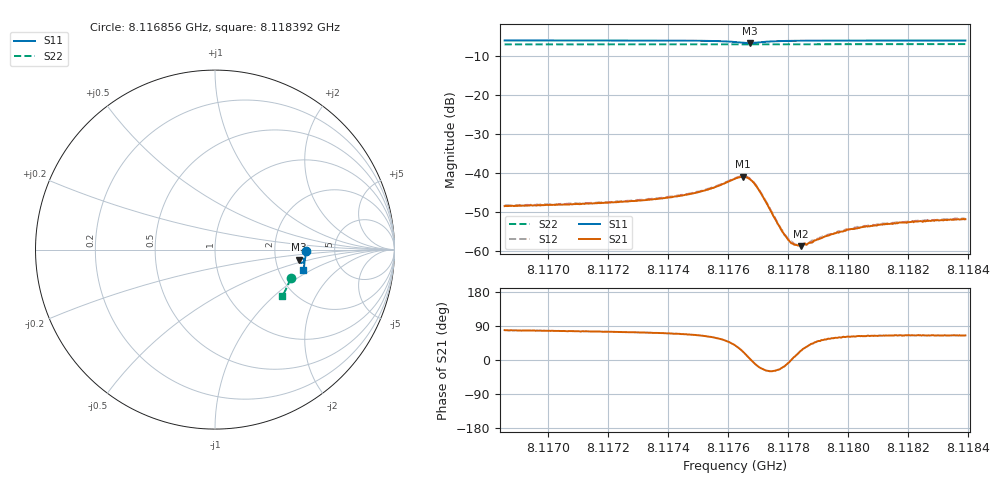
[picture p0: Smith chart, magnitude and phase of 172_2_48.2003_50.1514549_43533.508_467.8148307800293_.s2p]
#  HZ  S  RI  R  50.00
! Rohde & Schwarz Vector Network Analyzer
! Rohde-Schwarz,ZNB20-2Port,1311601062101988,3.16
! Created: UTC 3/20/2024, 11:43:46 AM
! freq[Hz]  re:S11  im:S11  re:S21  im:S21  re:S12  im:S12  re:S22  im:S22
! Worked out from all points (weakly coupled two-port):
!   401 points, 8.116856 GHz to 8.118392 GHz, reference 50 ohm
!   highest |S21| = -40.98 dB at 8.117651 GHz (marker M1); lowest = -58.8 dB at 8.117843 GHz (marker M2)
!   lowest |S11| = -6.6 dB at 8.117674 GHz (marker M3), VSWR 2.77, Z = 135 - j19.7 ohm
!   |S11| at or under -10 dB: nowhere
!   |S22| runs from -6.9 to -6.8 dB; largest |S21 - S12| = 0.00022
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8.1168562e9  0.5064 -0.00586  0.000728 0.00367  0.000805 0.00374  0.4212 -0.1598
8.1171135e9  0.5052 -0.0263  0.000983 0.00387  0.00106 0.00395  0.4151 -0.1768
8.1173707e9  0.5024 -0.0481  0.0015 0.00442  0.00159 0.00446  0.4084 -0.1936
8.1175012e9  0.498 -0.0616  0.00237 0.00513  0.00245 0.00519  0.4047 -0.202
8.1175588e9  0.4931 -0.0688  0.00345 0.00562  0.00356 0.00569  0.4028 -0.2058
8.1176241e9  0.4782 -0.0742  0.00654 0.00528  0.00676 0.00527  0.4002 -0.2097
8.1176509e9  0.4685 -0.0684  0.00829 0.00331  0.0085 0.00327  0.399 -0.211
8.117674e9  0.4663 -0.0567  0.00827 0.000424  0.00844 0.000356  0.3984 -0.2117
8.1176893e9  0.4703 -0.0498  0.00714 -0.00117  0.00727 -0.00125  0.3982 -0.2124
8.1177047e9  0.4768 -0.0463  0.00561 -0.00194  0.00571 -0.00203  0.398 -0.2133
8.1177738e9  0.4943 -0.0539  0.00182 -0.000824  0.00185 -0.000829  0.3965 -0.218
8.1177968e9  0.4963 -0.0578  0.00144 -0.00028  0.00146 -0.00027  0.3962 -0.2195
8.117816e9  0.4973 -0.0606  0.00124 8.61e-05  0.00128 5.69e-05  0.3956 -0.2207
8.1178314e9  0.4977 -0.0627  0.00114 0.000302  0.00115 0.00031  0.3952 -0.2218
8.1178429e9  0.498 -0.0643  0.00104 0.000465  0.00109 0.000478  0.3949 -0.2224
8.1178813e9  0.4985 -0.0689  0.000932 0.00087  0.00101 0.000908  0.3935 -0.2251
8.1179465e9  0.4983 -0.076  0.000876 0.00138  0.000888 0.0014  0.3914 -0.229
8.1180041e9  0.498 -0.0814  0.000899 0.00165  0.000931 0.00164  0.3896 -0.2328
8.1180617e9  0.4973 -0.0863  0.000934 0.00184  0.000922 0.00186  0.3875 -0.2362
8.1181385e9  0.4962 -0.093  0.000932 0.002  0.001 0.00205  0.385 -0.2408
8.1182306e9  0.495 -0.1002  0.000996 0.00214  0.00104 0.00218  0.3815 -0.2467
8.1183919e9  0.4922 -0.1126  0.00107 0.0023  0.00116 0.00231  0.3759 -0.2563
